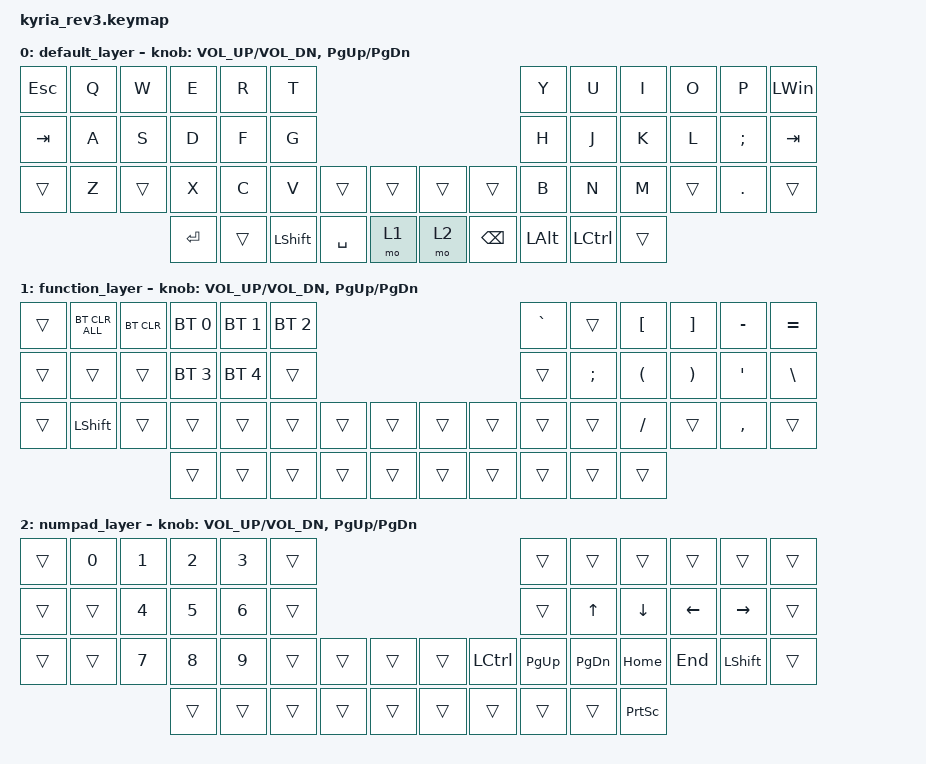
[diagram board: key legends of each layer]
/*
 * Copyright (c) 2023 The ZMK Contributors
 *
 * SPDX-License-Identifier: MIT
 */

#include <behaviors.dtsi>
#include <dt-bindings/zmk/bt.h>
#include <dt-bindings/zmk/keys.h>

 / {
    keymap {
        compatible = "zmk,keymap";

        default_layer {
            // -------------------------------------------------------------------------------------------------------------------------------
            // |  ESC  |  Q        |  W      |  E     |    R    |   T     |                                                     |    Y     |    U      |  I      |  O       |   P      |  LWIN  |
            // |  TAB  |  A        |  S      |  D     |    F    |   G     |                                                     |    H     |    J      |  K      |  L       |   ;      |  TAB   |
            // |       |  Z        |         |  X     |    C    |   V     |             |          |       |            |       |    B     |    N      |  M      |         |   .      |        |
            //                               |  RET   |         | LSHIFT  |     SPACE   | LAYER 1  |       |  LAYER 2   | BSPC  |    ALT   |    CTRL   |         | 
            bindings = <
                &kp ESC      &kp Q       &kp W     &kp E     &kp R     &kp T                                                           &kp Y      &kp U      &kp I     &kp O      &kp P     &kp LWIN
                &kp TAB      &kp A       &kp S     &kp D     &kp F     &kp G                                                           &kp H      &kp J      &kp K     &kp L      &kp SEMI  &kp TAB
                &trans       &kp Z       &trans    &kp X     &kp C     &kp V        &trans     &trans          &trans      &trans      &kp B      &kp N      &kp M     &trans     &kp DOT   &trans
                                                   &kp RET   &trans    &kp LSHIFT   &kp SPACE  &mo 1           &mo 2       &kp BSPC    &kp LALT   &kp LCTRL  &trans    
            >;

            sensor-bindings = <&inc_dec_kp C_VOL_UP C_VOL_DN &inc_dec_kp PG_UP PG_DN>;
        };
        function_layer {
            // ---------------------------------------------------------------------------------------------------------------------------------
            // |        | CLEAR_ALL     |  BT_CLR   |   BTSEL0    |   BTSEL1    |   BTSEL2     |                                    |   GRAVE |         |  LBKT    |   RBKT    |  MINUS    |  EQUAL  |
            // |        |               |           |   BTSEL3    |   BTSEL4    |              |                                    |         |  SEMI   |  LPAR    |   RPAR    |   SQT     |  BSLH   |
            // |        | LSHIFT        |           |             |             |              |       |      |      |      |       |         |         |  SLASH   |    DOT    |   COMMA   |         |
            //                                      |             |             |              |       |      |      |      |       |         |         |          |           |
            bindings = <
                &trans    &bt BT_CLR_ALL   &bt BT_CLR  &bt BT_SEL 0  &bt BT_SEL 1  &bt BT_SEL 2                                        &kp GRAVE  &trans    &kp LBKT   &kp RBKT  &kp MINUS  &kp EQUAL
                &trans    &trans           &trans      &bt BT_SEL 3  &bt BT_SEL 4  &trans                                              &trans     &kp SEMI  &kp LPAR   &kp RPAR  &kp SQT    &kp BSLH
                &trans    &kp LSHIFT       &trans      &trans        &trans        &trans        &trans  &trans       &trans  &trans   &trans     &trans    &kp SLASH  &trans    &kp COMMA  &trans
                                                       &trans        &trans        &trans        &trans  &trans        &trans  &trans  &trans     &trans    &trans
            >;

            sensor-bindings = <&inc_dec_kp C_VOL_UP C_VOL_DN &inc_dec_kp PG_UP PG_DN>;
        };
        numpad_layer {
            // ---------------------------------------------------------------------------------------------------------------------------------
            // |       |   0  |   1    |   2    |    3     |      |                                   |         |               |                  |                |                 |          |
            // |       |      |   4    |   5    |    6     |      |                                   |         |   UP          |   DOWN           |   LEFT         |     RIGHT       |          |
            // |       |      |   7    |   8    |    9     |      |      |      |    |      |   CTRL  | PG_UP   |  PG_DOWN      |   HOME           |    END         |   LSHIFT        |          | 
            //                         |        |          |      |      |      |    |      |         |         |               |   PRINTSCREEN    |       
            bindings = <
                &trans  &kp N0  &kp N1  &kp N2   &kp N3   &trans                                         &trans       &trans         &trans             &trans            &trans             &trans
                &trans  &trans  &kp N4  &kp N5   &kp N6   &trans                                         &trans       &kp UP_ARROW   &kp DOWN_ARROW     &kp LEFT_ARROW    &kp RIGHT_ARROW    &trans
                &trans  &trans  &kp N7  &kp N8   &kp N9   &trans  &trans  &trans      &trans  &kp LCTRL  &kp PAGE_UP  &kp PAGE_DOWN  &kp HOME           &kp END           &kp LSHIFT         &trans
                                        &trans   &trans   &trans  &trans  &trans      &trans  &trans     &trans       &trans         &kp PRINTSCREEN
            >;

            sensor-bindings = <&inc_dec_kp C_VOL_UP C_VOL_DN &inc_dec_kp PG_UP PG_DN>;
        };
    };
};
